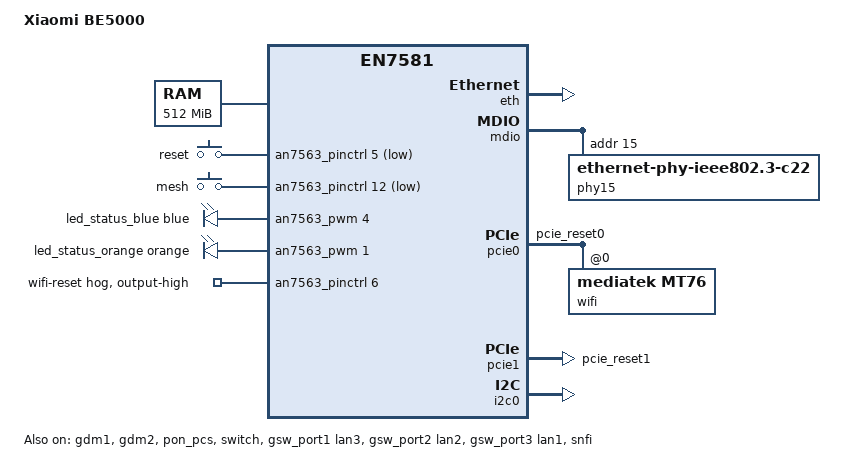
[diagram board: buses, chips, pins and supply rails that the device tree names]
// SPDX-License-Identifier: (GPL-2.0-only OR BSD-2-Clause)
/dts-v1/;

/* Bootloader installs ATF here (BL31 resident region, ~256 KiB). */
/memreserve/ 0x80000000 0x88000;

#include <dt-bindings/leds/common.h>
#include <dt-bindings/gpio/gpio.h>
#include <dt-bindings/input/input.h>
#include "an7563.dtsi"

/ {
	model = "Xiaomi BE5000";
	compatible = "xiaomi,be5000", "airoha,an7563", "airoha,en7581";

	aliases {
		serial0 = &uart1;
		led-boot = &led_status_orange;
		led-failsafe = &led_status_orange;
		led-running = &led_status_blue;
		led-upgrade = &led_status_orange;
		label-mac-device = &gdm1;
	};

	chosen {
		stdout-path = "serial0:115200n8";
		bootargs-override = "console=ttyS0,115200n8 earlycon ubi.mtd=ubi";
	};

	memory@80000000 {
		device_type = "memory";
		reg = <0x80000000 0x20000000>;
	};

	gpio-keys {
		compatible = "gpio-keys";

		reset {
			label = "reset";
			linux,code = <KEY_RESTART>;
			gpios = <&an7563_pinctrl 5 GPIO_ACTIVE_LOW>;
			debounce-interval = <10>;
		};

		mesh {
			label = "mesh";
			linux,code = <BTN_9>;
			gpios = <&an7563_pinctrl 12 GPIO_ACTIVE_LOW>;
			debounce-interval = <10>;
		};
	};

	pwm-leds {
		compatible = "pwm-leds";
		pinctrl-names = "default";
		pinctrl-0 = <&pwm_gpio1_pins &pwm_gpio4_pins>;

		led_status_blue: led-blue {
			color = <LED_COLOR_ID_BLUE>;
			function = LED_FUNCTION_STATUS;
			pwms = <&an7563_pwm 4 4000000 0>;
			max-brightness = <255>;
		};

		led_status_orange: led-orange {
			color = <LED_COLOR_ID_ORANGE>;
			function = LED_FUNCTION_STATUS;
			pwms = <&an7563_pwm 1 4000000 0>;
			max-brightness = <255>;
		};
	};
};

&an7563_pinctrl {
	wifi-reset-hog {
		gpio-hog;
		gpios = <6 GPIO_ACTIVE_HIGH>;
		output-high;
		line-name = "wifi-reset";
	};

	mdio_pins: mdio-pins {
		mux {
			function = "mdio";
			groups = "mdio";
		};
	};

	pcie0_rst_pins: pcie0-rst-pins {
		conf {
			pins = "pcie_reset0";
			drive-open-drain = <1>;
		};
	};

	pcie1_rst_pins: pcie1-rst-pins {
		conf {
			pins = "pcie_reset1";
			drive-open-drain = <1>;
		};
	};

	pwm_gpio1_pins: pwm-gpio1-pins {
		function = "pwm";
		pins = "gpio1";
		output-enable;
	};

	pwm_gpio4_pins: pwm-gpio4-pins {
		function = "pwm";
		pins = "gpio4";
		output-enable;
	};
};

&eth {
	status = "okay";
};

&gdm1 {
	status = "okay";
	nvmem-cells = <&macaddr_factory_1ffff4>;
	nvmem-cell-names = "mac-address";
};

&gdm2 {
	phy-mode = "2500base-x";
	phy-handle = <&phy15>;
	openwrt,netdev-name = "wan";
	status = "okay";

	nvmem-cells = <&macaddr_factory_1ffffa>;
	nvmem-cell-names = "mac-address";
};

&pon_pcs {
	status = "okay";
};

&switch {
	status = "okay";
	pinctrl-names = "default";
	pinctrl-0 = <&mdio_pins>;
};

&gsw_port1 {
	label = "lan3";
	status = "okay";
};

&gsw_port2 {
	label = "lan2";
	status = "okay";
};

&gsw_port3 {
	label = "lan1";
	status = "okay";
};

&mdio {
	phy15: ethernet-phy@f {
		compatible = "ethernet-phy-ieee802.3-c22";
		reg = <15>;
	};
};

&pcie0 {
	pinctrl-names = "default";
	pinctrl-0 = <&pcie0_rst_pins>;
	status = "okay";

	pcie@0,0 {
		reg = <0x0000 0 0 0 0>;
		device_type = "pci";
		#address-cells = <3>;
		#size-cells = <2>;
		ranges;

		wifi@0,0 {
			compatible = "mediatek,mt76";
			reg = <0x0000 0 0 0 0>;
			nvmem-cells = <&eeprom_factory_0>;
			nvmem-cell-names = "eeprom";
		};
	};
};

&pcie1 {
	pinctrl-names = "default";
	pinctrl-0 = <&pcie1_rst_pins>;
	status = "okay";
};

&snfi {
	status = "okay";
};

&i2c0 {
	status = "okay";
};

&spi_nand {
	airoha,bmt;

	partitions {
		compatible = "fixed-partitions";
		#address-cells = <1>;
		#size-cells = <1>;

		partition@0 {
			label = "Bootloader";
			reg = <0x00000000 0x00080000>;
			read-only;
		};

		partition@80000 {
			label = "u-boot-env";
			reg = <0x00080000 0x00080000>;
		};

		partition@100000 {
			label = "bdata";
			reg = <0x00100000 0x00080000>;
			read-only;
		};

		partition@180000 {
			label = "Factory";
			reg = <0x00180000 0x00400000>;
			read-only;

			nvmem-layout {
				compatible = "fixed-layout";
				#address-cells = <1>;
				#size-cells = <1>;

				eeprom_factory_0: eeprom@0 {
					reg = <0x0 0x1e00>;
				};

				macaddr_factory_1ffff4: macaddr@1ffff4 {
					reg = <0x1ffff4 0x6>;
				};

				macaddr_factory_1ffffa: macaddr@1ffffa {
					reg = <0x1ffffa 0x6>;
				};
			};
		};

		partition@580000 {
			label = "crash";
			reg = <0x00580000 0x00040000>;
			read-only;
		};

		partition@5c0000 {
			label = "crash_log";
			reg = <0x005c0000 0x00040000>;
			read-only;
		};

		partition@600000 {
			label = "kernel";
			reg = <0x00600000 0x00600000>;
		};

		/* Remaining tclinux, tclinux_slave and overlay. */
		partition@c00000 {
			label = "ubi";
			reg = <0x00c00000 0x06200000>;
		};

		partition@6e00000 {
			label = "art";
			reg = <0x06e00000 0x00400000>;
			read-only;
		};
	};
};
